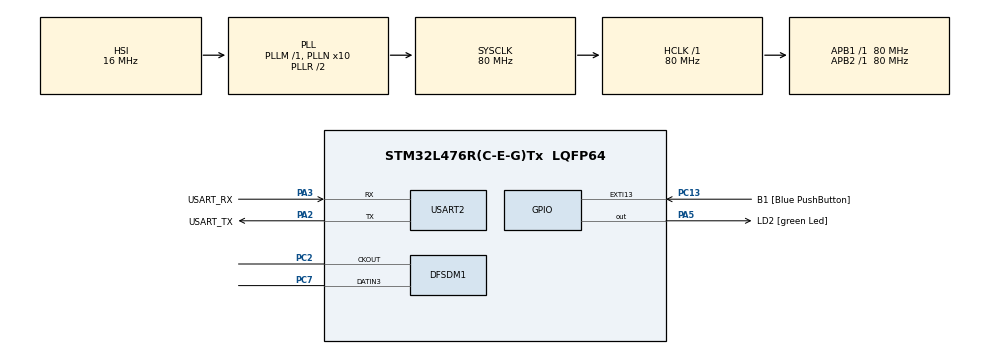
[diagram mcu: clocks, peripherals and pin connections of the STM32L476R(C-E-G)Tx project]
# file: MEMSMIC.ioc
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DFSDM1.Divider=64
DFSDM1.DmaMode_reg_FIL0=ENABLE
DFSDM1.FastMode_reg_FIL0=ENABLE
DFSDM1.Filter_regChannel_FIL0=DFSDM_CHANNEL_3
DFSDM1.Fosr_FIL0=64
DFSDM1.Offset_CH3=0x0
DFSDM1.RightBitShift_CH3=0x0
DFSDM1.SincOrder_FIL0=DFSDM_FILTER_SINC4_ORDER
Dma.DFSDM1_FLT0.0.Direction=DMA_PERIPH_TO_MEMORY
Dma.DFSDM1_FLT0.0.Instance=DMA1_Channel4
Dma.DFSDM1_FLT0.0.MemDataAlignment=DMA_MDATAALIGN_WORD
Dma.DFSDM1_FLT0.0.MemInc=DMA_MINC_ENABLE
Dma.DFSDM1_FLT0.0.Mode=DMA_CIRCULAR
Dma.DFSDM1_FLT0.0.PeriphDataAlignment=DMA_PDATAALIGN_WORD
Dma.DFSDM1_FLT0.0.PeriphInc=DMA_PINC_DISABLE
Dma.DFSDM1_FLT0.0.Priority=DMA_PRIORITY_LOW
Dma.Request0=DFSDM1_FLT0
Mcu.Family=STM32L4
Mcu.Name=STM32L476R(C-E-G)Tx
Mcu.Package=LQFP64
NVIC.DMA1_Channel4_IRQn=true\:0\:0\:false\:false\:true\:false\:true\:true
NVIC.PriorityGroup=NVIC_PRIORITYGROUP_4
NVIC.USART2_IRQn=true\:0\:0\:false\:false\:true\:true\:true\:true
PA13\ (JTMS-SWDIO).GPIO_Label=TMS
PA13\ (JTMS-SWDIO).Mode=Serial_Wire
PA13\ (JTMS-SWDIO).Signal=SYS_JTMS-SWDIO
PA14\ (JTCK-SWCLK).GPIO_Label=TCK
PA14\ (JTCK-SWCLK).Mode=Serial_Wire
PA14\ (JTCK-SWCLK).Signal=SYS_JTCK-SWCLK
PA2.GPIO_Label=USART_TX
PA2.GPIO_Mode=GPIO_MODE_AF_PP
PA2.GPIO_PuPd=GPIO_NOPULL
PA2.GPIO_Speed=GPIO_SPEED_FREQ_VERY_HIGH
PA2.Mode=Asynchronous
PA2.Signal=USART2_TX
PA3.GPIO_Label=USART_RX
PA3.GPIO_Mode=GPIO_MODE_AF_PP
PA3.GPIO_PuPd=GPIO_NOPULL
PA3.GPIO_Speed=GPIO_SPEED_FREQ_VERY_HIGH
PA3.Mode=Asynchronous
PA3.Signal=USART2_RX
PA5.GPIO_Label=LD2 [green Led]
PA5.GPIO_ModeDefaultOutputPP=GPIO_MODE_OUTPUT_PP
PA5.GPIO_PuPd=GPIO_NOPULL
PA5.GPIO_Speed=GPIO_SPEED_FREQ_LOW
PA5.Signal=GPIO_Output
PB3\ (JTDO-TRACESWO).GPIO_Label=SWO
PB3\ (JTDO-TRACESWO).Signal=SYS_JTDO-SWO
PC13.GPIO_Label=B1 [Blue PushButton]
PC13.GPIO_ModeDefaultEXTI=GPIO_MODE_IT_FALLING
PC13.GPIO_PuPd=GPIO_NOPULL
PC13.Signal=GPXTI13
PC14-OSC32_IN\ (PC14).Mode=LSE-External-Oscillator
PC14-OSC32_IN\ (PC14).Signal=RCC_OSC32_IN
PC15-OSC32_OUT\ (PC15).Mode=LSE-External-Oscillator
PC15-OSC32_OUT\ (PC15).Signal=RCC_OSC32_OUT
PC2.Signal=S_CKOUTDFSDM1
PC7.Signal=S_DATAIN3DFSDM1
PH0-OSC_IN\ (PH0).Signal=RCC_OSC_IN
PH1-OSC_OUT\ (PH1).Signal=RCC_OSC_OUT
ProjectManager.HeapSize=0x200
ProjectManager.StackSize=0x400
ProjectManager.TargetToolchain=STM32CubeIDE
RCC.ADCFreq_Value=64000000
RCC.AHBFreq_Value=80000000
RCC.APB1Freq_Value=80000000
RCC.APB1TimFreq_Value=80000000
RCC.APB2Freq_Value=80000000
RCC.APB2TimFreq_Value=80000000
RCC.CortexFreq_Value=80000000
RCC.HCLKFreq_Value=80000000
RCC.HSE_VALUE=8000000
RCC.HSI_VALUE=16000000
RCC.MSI_VALUE=4000000
RCC.PLLN=10
RCC.PLLSourceVirtual=RCC_PLLSOURCE_HSI
RCC.PREFETCH_ENABLE=1
RCC.SYSCLKFreq_VALUE=80000000
RCC.SYSCLKSource=RCC_SYSCLKSOURCE_PLLCLK
RCC.USBFreq_Value=64000000
RCC.VCOOutputFreq_Value=160000000
SH.S_CKOUTDFSDM1.0=DFSDM1_CKOUT,PDM_SPI_input_from_ch3_and_internal_clock
SH.S_DATAIN3DFSDM1.0=DFSDM1_DATIN3,PDM_SPI_input_from_ch3_and_internal_clock
USART2.VirtualMode-Asynchronous=VM_ASYNC
board=NUCLEO-L476RG

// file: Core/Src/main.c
/* USER CODE BEGIN Header */
/**
 ******************************************************************************
 * @file           : main.c
 * @brief          : Main program body
 ******************************************************************************
 * @attention
 *
 * Copyright (c) 2023 STMicroelectronics.
 * All rights reserved.
 *
 * This software is licensed under terms that can be found in the LICENSE file
 * in the root directory of this software component.
 * If no LICENSE file comes with this software, it is provided AS-IS.
 *
 ******************************************************************************
 */
/* USER CODE END Header */
#include "main.h"

/* USER CODE BEGIN Includes */
#include <stdio.h>
#include <stdbool.h>
#include <math.h>
#include "arm_math.h"
/* USER CODE END Includes */

DFSDM_Filter_HandleTypeDef hdfsdm1_filter0;
DFSDM_Channel_HandleTypeDef hdfsdm1_channel3;
DMA_HandleTypeDef hdma_dfsdm1_flt0;

UART_HandleTypeDef huart2;

/* USER CODE BEGIN PV */
bool flag = true;
int32_t buf[NN * 2] = { 0 };

arm_rfft_fast_instance_f32 S;
float32_t fs;
int32_t fft_in_int32[NN] = { 0 };
float32_t fft_in[NN] = { 0.0f };
float32_t fft_out[NN] = { 0.0f };
float32_t fft_mag[NN / 2] = { 0.0f };
float32_t fft_db[NN / 2] = { 0.0f };
float32_t fft_freq[NN / 2] = { 0.0f };
float32_t fft_win[NN] = { 0.0f };

bool output_result = false;
bool ac_coupling = true;

// UART one-byte input buffer
uint8_t cmd;

/* USER CODE END PV */

void SystemClock_Config(void);
static void MX_GPIO_Init(void);
static void MX_DMA_Init(void);
static void MX_USART2_UART_Init(void);
static void MX_DFSDM1_Init(void);
/* USER CODE BEGIN PFP */

void apply_ac_coupling(float32_t *signal);
/* USER CODE END PFP */

int main(void)
{

  /* MCU Configuration--------------------------------------------------------*/

  /* Reset of all peripherals, Initializes the Flash interface and the Systick. */
  HAL_Init();

  /* Configure the system clock */
  SystemClock_Config();

  /* Initialize all configured peripherals */
  MX_GPIO_Init();
  MX_DMA_Init();
  MX_USART2_UART_Init();
  MX_DFSDM1_Init();
  /* USER CODE BEGIN 2 */
  HAL_Delay(100);
  if (HAL_DFSDM_FilterRegularStart_DMA(&hdfsdm1_filter0, buf, NN) != HAL_OK) {
    Error_Handler();
  }

  // Sampling frequency (Hz)
  fs = SystemCoreClock / hdfsdm1_channel3.Init.OutputClock.Divider
      / hdfsdm1_filter0.Init.FilterParam.Oversampling
      / hdfsdm1_filter0.Init.FilterParam.IntOversampling;

  // Hanning window
  const float tmp = 2.0f * M_PI / (float) NN;
  for (uint32_t i = 0; i < NN; i++) {
    *(fft_win + i) = 0.5f - 0.5f * arm_cos_f32((float) i * tmp);
  }

  // FFT frequencies
  for (uint32_t i = 0; i < NN / 2; i++) {
    *(fft_freq + i) = (float) i * (float) fs / (float) NN;
  }

  arm_rfft_fast_init_f32(&S, NN);

  printf("\r\nType 'p' to output single-shot FFT.\r\n");
  printf("Type 'a' to enable AC coupling.\r\n");
  printf("Type 'A' to disable AC coupling.\r\n");

  HAL_UART_Receive_IT(&huart2, (uint8_t*) &cmd, 1);
  /* USER CODE END 2 */

  /* Infinite loop */
  /* USER CODE BEGIN WHILE */
  while (1) {
    // Wait
    while (flag)
      ;
    // Raw data output
    /*for (uint32_t i = 0; i < FFT_SampleNum; i++)
     printf("%d\r\n", FFT_inp_int32[i]);*/

    // RDATA field (PCM) of DFSDM Data Output Register
    for (uint32_t i = 0; i < NN; i++) {
      fft_in[i] = (float32_t) (fft_in_int32[i] >> REGISTER_BIT_SHIFT);
    }

    // AC Coupling
    if (ac_coupling) {
      apply_ac_coupling(fft_in);
    }

    // Windowing
    arm_mult_f32(fft_in, fft_win, fft_in, NN);

    // Execute FFT
    arm_rfft_fast_f32(&S, fft_in, fft_out, 0);

    // calculate magnitude
    arm_cmplx_mag_f32(fft_out, fft_mag, NN / 2);

    // Normalization (Unitary transformation) of magnitude
    arm_scale_f32(fft_mag, 1.0f / sqrtf((float32_t) NN), fft_mag, NN / 2);

    float32_t inv_dB_base_mag = 1.0f / 1.0f;
    for (uint32_t i = 0; i < NN / 2; i++)
      fft_db[i] = 10.0f * log10f(fft_mag[i] * inv_dB_base_mag);

    // calc max mag
    float32_t mag_max, frq_max;
    uint32_t maxIndex;
    arm_max_f32(fft_mag, NN / 2, &mag_max, &maxIndex);
    frq_max = *(fft_freq + maxIndex);

    if (output_result) {
      printf(
          "\r\nSampleRate=%d, frq_max = %.1f, mag_max = %f\r\nFreq\tMag\tMag(dB)\r\n",
          (int) fs, frq_max, mag_max);
      for (uint32_t i = 0; i < NN / 2; i++) {
        printf("%.1f\t%f\t%f\r\n", fft_freq[i], fft_mag[i], fft_db[i]);
      }

      output_result = false;
    }

    // HAL_Delay(2000);

    flag = true;        // <- Continuous transformation
    /* USER CODE END WHILE */

  }
}

void SystemClock_Config(void)
{
  RCC_OscInitTypeDef RCC_OscInitStruct = {0};
  RCC_ClkInitTypeDef RCC_ClkInitStruct = {0};

  /** Configure the main internal regulator output voltage
  */
  if (HAL_PWREx_ControlVoltageScaling(PWR_REGULATOR_VOLTAGE_SCALE1) != HAL_OK)
  {
    Error_Handler();
  }

  /** Initializes the RCC Oscillators according to the specified parameters
  * in the RCC_OscInitTypeDef structure.
  */
  RCC_OscInitStruct.OscillatorType = RCC_OSCILLATORTYPE_HSI;
  RCC_OscInitStruct.HSIState = RCC_HSI_ON;
  RCC_OscInitStruct.HSICalibrationValue = RCC_HSICALIBRATION_DEFAULT;
  RCC_OscInitStruct.PLL.PLLState = RCC_PLL_ON;
  RCC_OscInitStruct.PLL.PLLSource = RCC_PLLSOURCE_HSI;
  RCC_OscInitStruct.PLL.PLLM = 1;
  RCC_OscInitStruct.PLL.PLLN = 10;
  RCC_OscInitStruct.PLL.PLLP = RCC_PLLP_DIV7;
  RCC_OscInitStruct.PLL.PLLQ = RCC_PLLQ_DIV2;
  RCC_OscInitStruct.PLL.PLLR = RCC_PLLR_DIV2;
  if (HAL_RCC_OscConfig(&RCC_OscInitStruct) != HAL_OK)
  {
    Error_Handler();
  }

  /** Initializes the CPU, AHB and APB buses clocks
  */
  RCC_ClkInitStruct.ClockType = RCC_CLOCKTYPE_HCLK|RCC_CLOCKTYPE_SYSCLK
                              |RCC_CLOCKTYPE_PCLK1|RCC_CLOCKTYPE_PCLK2;
  RCC_ClkInitStruct.SYSCLKSource = RCC_SYSCLKSOURCE_PLLCLK;
  RCC_ClkInitStruct.AHBCLKDivider = RCC_SYSCLK_DIV1;
  RCC_ClkInitStruct.APB1CLKDivider = RCC_HCLK_DIV1;
  RCC_ClkInitStruct.APB2CLKDivider = RCC_HCLK_DIV1;

  if (HAL_RCC_ClockConfig(&RCC_ClkInitStruct, FLASH_LATENCY_4) != HAL_OK)
  {
    Error_Handler();
  }
}

static void MX_DFSDM1_Init(void)
{

  hdfsdm1_filter0.Instance = DFSDM1_Filter0;
  hdfsdm1_filter0.Init.RegularParam.Trigger = DFSDM_FILTER_SW_TRIGGER;
  hdfsdm1_filter0.Init.RegularParam.FastMode = ENABLE;
  hdfsdm1_filter0.Init.RegularParam.DmaMode = ENABLE;
  hdfsdm1_filter0.Init.FilterParam.SincOrder = DFSDM_FILTER_SINC4_ORDER;
  hdfsdm1_filter0.Init.FilterParam.Oversampling = 64;
  hdfsdm1_filter0.Init.FilterParam.IntOversampling = 1;
  if (HAL_DFSDM_FilterInit(&hdfsdm1_filter0) != HAL_OK)
  {
    Error_Handler();
  }
  hdfsdm1_channel3.Instance = DFSDM1_Channel3;
  hdfsdm1_channel3.Init.OutputClock.Activation = ENABLE;
  hdfsdm1_channel3.Init.OutputClock.Selection = DFSDM_CHANNEL_OUTPUT_CLOCK_SYSTEM;
  hdfsdm1_channel3.Init.OutputClock.Divider = 64;
  hdfsdm1_channel3.Init.Input.Multiplexer = DFSDM_CHANNEL_EXTERNAL_INPUTS;
  hdfsdm1_channel3.Init.Input.DataPacking = DFSDM_CHANNEL_STANDARD_MODE;
  hdfsdm1_channel3.Init.Input.Pins = DFSDM_CHANNEL_SAME_CHANNEL_PINS;
  hdfsdm1_channel3.Init.SerialInterface.Type = DFSDM_CHANNEL_SPI_RISING;
  hdfsdm1_channel3.Init.SerialInterface.SpiClock = DFSDM_CHANNEL_SPI_CLOCK_INTERNAL;
  hdfsdm1_channel3.Init.Awd.FilterOrder = DFSDM_CHANNEL_FASTSINC_ORDER;
  hdfsdm1_channel3.Init.Awd.Oversampling = 1;
  hdfsdm1_channel3.Init.Offset = 0x0;
  hdfsdm1_channel3.Init.RightBitShift = 0x9;
  if (HAL_DFSDM_ChannelInit(&hdfsdm1_channel3) != HAL_OK)
  {
    Error_Handler();
  }
  if (HAL_DFSDM_FilterConfigRegChannel(&hdfsdm1_filter0, DFSDM_CHANNEL_3, DFSDM_CONTINUOUS_CONV_ON) != HAL_OK)
  {
    Error_Handler();
  }

}

static void MX_USART2_UART_Init(void)
{

  huart2.Instance = USART2;
  huart2.Init.BaudRate = 115200;
  huart2.Init.WordLength = UART_WORDLENGTH_8B;
  huart2.Init.StopBits = UART_STOPBITS_1;
  huart2.Init.Parity = UART_PARITY_NONE;
  huart2.Init.Mode = UART_MODE_TX_RX;
  huart2.Init.HwFlowCtl = UART_HWCONTROL_NONE;
  huart2.Init.OverSampling = UART_OVERSAMPLING_16;
  huart2.Init.OneBitSampling = UART_ONE_BIT_SAMPLE_DISABLE;
  huart2.AdvancedInit.AdvFeatureInit = UART_ADVFEATURE_NO_INIT;
  if (HAL_UART_Init(&huart2) != HAL_OK)
  {
    Error_Handler();
  }

}

static void MX_DMA_Init(void)
{

  /* DMA controller clock enable */
  __HAL_RCC_DMA1_CLK_ENABLE();

  /* DMA interrupt init */
  /* DMA1_Channel4_IRQn interrupt configuration */
  HAL_NVIC_SetPriority(DMA1_Channel4_IRQn, 0, 0);
  HAL_NVIC_EnableIRQ(DMA1_Channel4_IRQn);

}

static void MX_GPIO_Init(void)
{
  GPIO_InitTypeDef GPIO_InitStruct = {0};

  /* GPIO Ports Clock Enable */
  __HAL_RCC_GPIOC_CLK_ENABLE();
  __HAL_RCC_GPIOH_CLK_ENABLE();
  __HAL_RCC_GPIOA_CLK_ENABLE();
  __HAL_RCC_GPIOB_CLK_ENABLE();

  /*Configure GPIO pin Output Level */
  HAL_GPIO_WritePin(LD2_GPIO_Port, LD2_Pin, GPIO_PIN_RESET);

  /*Configure GPIO pin : B1_Pin */
  GPIO_InitStruct.Pin = B1_Pin;
  GPIO_InitStruct.Mode = GPIO_MODE_IT_FALLING;
  GPIO_InitStruct.Pull = GPIO_NOPULL;
  HAL_GPIO_Init(B1_GPIO_Port, &GPIO_InitStruct);

  /*Configure GPIO pin : LD2_Pin */
  GPIO_InitStruct.Pin = LD2_Pin;
  GPIO_InitStruct.Mode = GPIO_MODE_OUTPUT_PP;
  GPIO_InitStruct.Pull = GPIO_NOPULL;
  GPIO_InitStruct.Speed = GPIO_SPEED_FREQ_LOW;
  HAL_GPIO_Init(LD2_GPIO_Port, &GPIO_InitStruct);

}

/* USER CODE BEGIN 4 */

// AC coupling (to remove DC)
void apply_ac_coupling(float32_t *signal) {
  float32_t mean;
  static float32_t mean_hist[NUM_MEANS] = { 0.0f };
  arm_copy_f32(mean_hist + 1, mean_hist, NUM_MEANS - 1);
  arm_mean_f32(signal, NN, mean_hist + NUM_MEANS - 1);
  arm_mean_f32(signal, NUM_MEANS, &mean);
  arm_offset_f32(signal, -mean, signal, NN);
}

void HAL_DFSDM_FilterRegConvCpltCallback(
    DFSDM_Filter_HandleTypeDef *hdfsdm_filter) {
  if (flag) {
    for (uint32_t i = 0; i < NN; i++) {
      fft_in_int32[i] = buf[i];
    }
    flag = false;
  }

}

void HAL_UART_RxCpltCallback(UART_HandleTypeDef *huart) {

  switch (cmd) {

  case 'p':  // pixels
    output_result = true;
    break;
  case 'a':
    ac_coupling = true;
    break;
  case 'A':
    ac_coupling = false;
    break;
  default:
    break;
  }

  HAL_UART_Receive_IT(&huart2, (uint8_t*) &cmd, 1);
}

int _write(int file, char *pbuf, int len) {
  HAL_UART_Transmit(&huart2, (uint8_t*) pbuf, len, 1000);
  return len;
}
/* USER CODE END 4 */

void Error_Handler(void)
{
  __disable_irq();
  while (1) {
  }
}
